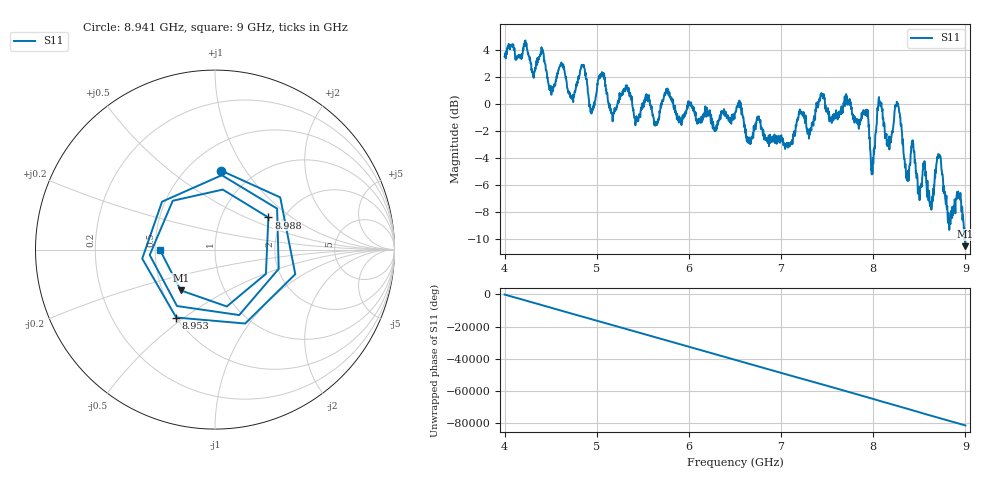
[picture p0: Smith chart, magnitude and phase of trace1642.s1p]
! Created with skrf 1.8.0 (http://scikit-rf.org).
# Hz S RI R 50.0
!freq ReS11 ImS11
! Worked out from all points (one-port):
!   1601 points, 4 GHz to 9 GHz, reference 50 ohm
!   lowest |S11| = -10.6 dB at 8.997 GHz (marker M1), VSWR 1.84, Z = 31 - j15.5 ohm
!   |S11| at or under -10 dB: 8.990805 GHz to 8.991664 GHz (858.7 kHz wide, 0.00955 % of centre); 8.994791 GHz to end of sweep
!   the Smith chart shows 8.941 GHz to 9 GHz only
!   S11 on the Smith chart (normalised r, x): 8.941 GHz: 0.71, +0.78; 8.953 GHz: 0.50, -0.47; 8.988 GHz: 1.67, +0.68; 9 GHz: 0.53, +0.00
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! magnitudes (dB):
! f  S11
! 4 GHz  3.6
! 4.506 GHz  0.7
! 4.625 GHz  2.9
! 4.728 GHz  0.4
! 4.853 GHz  2.8
! 4.944 GHz  -0.7
! 5.053 GHz  2.1
! 5.25 GHz  0.6
! 5.875 GHz  -1.0
! 6.5 GHz  -0.7
! 7.125 GHz  -2.9
! 7.438 GHz  0.8
! 7.75 GHz  -0.1
! 7.922 GHz  -0.6
! 7.991 GHz  -5.2
! 8.066 GHz  0.0
! 8.172 GHz  -2.4
! 8.262 GHz  0.0
! 8.375 GHz  -5.2
! 8.431 GHz  -3.1
! 8.625 GHz  -7.3
! 8.712 GHz  -3.9
! 8.822 GHz  -8.7
! 8.941 GHz  -7.1
! 8.953 GHz  -7.2
! 8.988 GHz  -9.2
! 8.997 GHz  -10.6
! 9 GHz  -10.2
